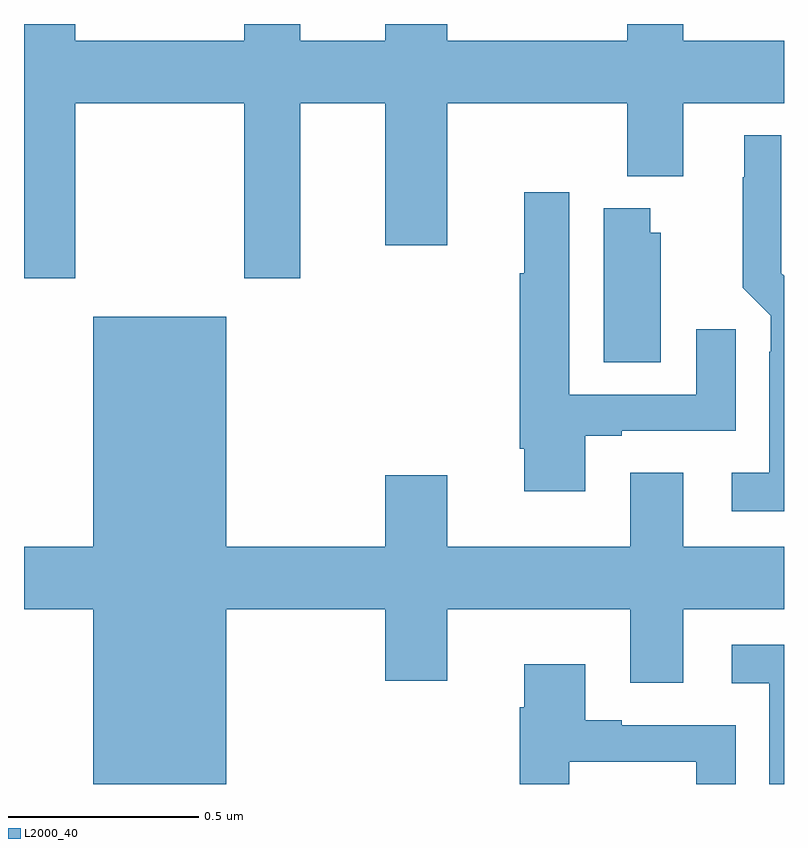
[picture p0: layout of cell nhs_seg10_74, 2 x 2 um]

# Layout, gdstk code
import gdstk
lib = gdstk.Library(unit=1e-6, precision=1e-09)
def P(c, l, *ps):  # polygons
    for p in ps: c.add(gdstk.Polygon(p, *l))
L2000_40 = (2000, 40)

nhs_seg10_74 = lib.new_cell('nhs_seg10_74')
P(nhs_seg10_74, L2000_40, [(111.135,1324.292),(111.58,1324.292),(111.58,1323.831),(111.727,1323.831),(111.727,1324.292),(111.95,1324.292),(111.95,1323.918),(112.114,1323.918),(112.114,1324.292),(112.588,1324.292),(112.588,1324.1),(112.735,1324.1),(112.735,1324.292),(113,1324.292),(113,1324.456),(112.735,1324.456),(112.735,1324.5),(112.588,1324.5),(112.588,1324.456),(112.114,1324.456),(112.114,1324.5),(111.95,1324.5),(111.95,1324.456),(111.727,1324.456),(111.727,1324.5),(111.58,1324.5),(111.58,1324.456),(111.135,1324.456),(111.135,1324.5),(111,1324.5),(111,1323.831),(111.135,1323.831)],
  [(113,1323.837),(112.993,1323.844),(112.993,1324.207),(112.895,1324.207),(112.895,1324.097),(112.891,1324.097),(112.891,1323.806),(112.965,1323.732),(112.965,1323.638),(112.961,1323.638),(112.961,1323.319),(112.863,1323.319),(112.863,1323.218),(113,1323.218)],
  [(112.477,1323.417),(112.573,1323.417),(112.573,1323.429),(112.873,1323.429),(112.873,1323.697),(112.769,1323.697),(112.769,1323.525),(112.435,1323.525),(112.435,1324.057),(112.316,1324.057),(112.316,1323.844),(112.304,1323.844),(112.304,1323.382),(112.316,1323.382),(112.316,1323.27),(112.477,1323.27)],
  [(112.675,1323.951),(112.648,1323.951),(112.648,1324.015),(112.526,1324.015),(112.526,1323.61),(112.675,1323.61)],
  [(111.532,1322.96),(111.95,1322.96),(111.95,1322.772),(112.114,1322.772),(112.114,1322.96),(112.595,1322.96),(112.595,1322.766),(112.735,1322.766),(112.735,1322.96),(113,1322.96),(113,1323.124),(112.735,1323.124),(112.735,1323.319),(112.595,1323.319),(112.595,1323.124),(112.114,1323.124),(112.114,1323.313),(111.95,1323.313),(111.95,1323.124),(111.532,1323.124),(111.532,1323.73),(111.182,1323.73),(111.182,1323.124),(111,1323.124),(111,1322.96),(111.182,1322.96),(111.182,1322.5),(111.532,1322.5)],
  [(113,1322.866),(112.863,1322.866),(112.863,1322.765),(112.961,1322.765),(112.961,1322.5),(113,1322.5)],
  [(112.435,1322.559),(112.769,1322.559),(112.769,1322.5),(112.873,1322.5),(112.873,1322.655),(112.573,1322.655),(112.573,1322.668),(112.477,1322.668),(112.477,1322.815),(112.316,1322.815),(112.316,1322.702),(112.304,1322.702),(112.304,1322.5),(112.435,1322.5)])

lib.write_gds('nhs_seg10_74.gds')
